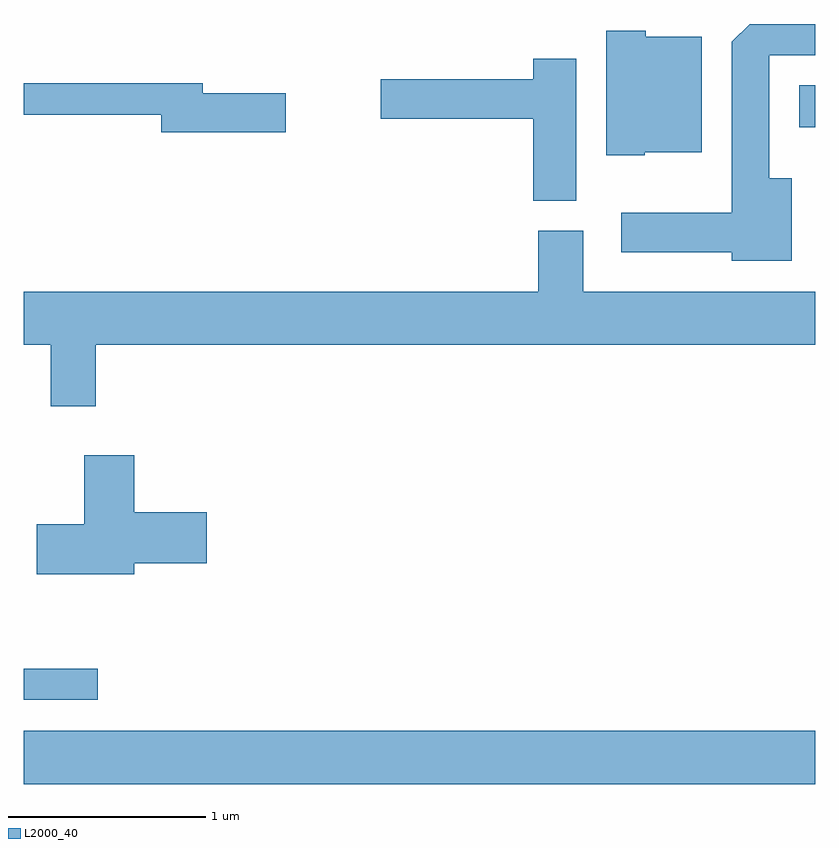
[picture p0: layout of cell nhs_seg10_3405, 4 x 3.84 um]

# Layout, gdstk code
import gdstk
lib = gdstk.Library(unit=1e-6, precision=1e-09)
def R(c, l, rs):  # rectangles x0, y0, x1, y1
    for r in rs: c.add(gdstk.rectangle(r[:2], r[2:], *l))
def P(c, l, *ps):  # polygons
    for p in ps: c.add(gdstk.Polygon(p, *l))
L2000_40 = (2000, 40)

nhs_seg10_3405 = lib.new_cell('nhs_seg10_3405')
R(nhs_seg10_3405, L2000_40, [(285.611,2120.576,289.611,2120.844), (285.611,2121.001,285.983,2121.159), (289.531,2123.896,289.611,2124.109)])
P(nhs_seg10_3405, L2000_40, [(289.494,2123.639),(289.379,2123.639),(289.379,2124.261),(289.611,2124.261),(289.611,2124.419),(289.282,2124.419),(289.191,2124.329),(289.191,2123.464),(288.631,2123.464),(288.631,2123.266),(289.191,2123.266),(289.191,2123.221),(289.494,2123.221)],
  [(288.75,2123.771),(289.039,2123.771),(289.039,2124.354),(288.754,2124.354),(288.754,2124.384),(288.556,2124.384),(288.556,2123.756),(288.75,2123.756)],
  [(288.404,2124.244),(288.186,2124.244),(288.186,2124.139),(287.416,2124.139),(287.416,2123.941),(288.186,2123.941),(288.186,2123.526),(288.404,2123.526)],
  [(286.934,2124.069),(286.514,2124.069),(286.514,2124.119),(285.611,2124.119),(285.611,2123.961),(286.306,2123.961),(286.306,2123.871),(286.934,2123.871)],
  [(285.974,2122.796),(289.611,2122.796),(289.611,2123.064),(288.439,2123.064),(288.439,2123.374),(288.211,2123.374),(288.211,2123.064),(285.611,2123.064),(285.611,2122.796),(285.746,2122.796),(285.746,2122.486),(285.974,2122.486)],
  [(286.169,2121.691),(286.534,2121.691),(286.534,2121.949),(286.169,2121.949),(286.169,2122.239),(285.916,2122.239),(285.916,2121.889),(285.676,2121.889),(285.676,2121.636),(286.169,2121.636)])

lib.write_gds('nhs_seg10_3405.gds')
